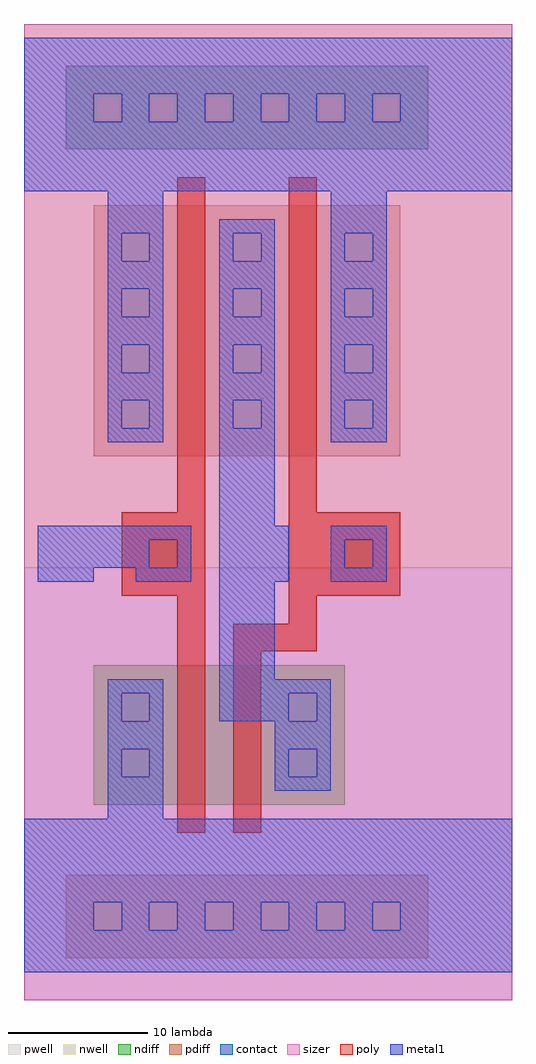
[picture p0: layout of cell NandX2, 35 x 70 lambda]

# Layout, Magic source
magic
tech LibreSilicon-test000-concept-mg-70-7
<< sizer >>
rect 0 0 35 70
<< metal1 >>
rect 0 65 35 69
rect 0 63 5 65
rect 7 63 9 65
rect 11 63 13 65
rect 15 63 17 65
rect 19 63 21 65
rect 23 63 25 65
rect 27 63 35 65
rect 0 58 35 63
rect 6 55 10 58
rect 22 55 26 58
rect 14 55 18 56
rect 6 53 7 55
rect 9 53 10 55
rect 14 53 15 55
rect 17 53 18 55
rect 22 53 23 55
rect 25 53 26 55
rect 6 51 10 53
rect 14 51 18 53
rect 22 51 26 53
rect 6 49 7 51
rect 9 49 10 51
rect 14 49 15 51
rect 17 49 18 51
rect 22 49 23 51
rect 25 49 26 51
rect 6 47 10 49
rect 14 47 18 49
rect 22 47 26 49
rect 6 45 7 47
rect 9 45 10 47
rect 14 45 15 47
rect 17 45 18 47
rect 22 45 23 47
rect 25 45 26 47
rect 6 43 10 45
rect 14 43 18 45
rect 22 43 26 45
rect 6 41 7 43
rect 9 41 10 43
rect 14 41 15 43
rect 17 41 18 43
rect 22 41 23 43
rect 25 41 26 43
rect 6 40 10 41
rect 14 34 18 41
rect 22 40 26 41
rect 1 33 12 34
rect 14 30 19 34
rect 22 33 26 34
rect 1 31 9 33
rect 11 31 12 33
rect 22 31 23 33
rect 25 31 26 33
rect 1 30 5 31
rect 8 30 12 31
rect 22 30 26 31
rect 14 23 18 30
rect 6 22 10 23
rect 14 22 22 23
rect 6 20 7 22
rect 9 20 10 22
rect 14 20 19 22
rect 21 20 22 22
rect 6 18 10 20
rect 18 18 22 20
rect 6 16 7 18
rect 9 16 10 18
rect 18 16 19 18
rect 21 16 22 18
rect 6 13 10 16
rect 18 15 22 16
rect 0 7 35 13
rect 0 5 5 7
rect 7 5 9 7
rect 11 5 13 7
rect 15 5 17 7
rect 19 5 21 7
rect 23 5 25 7
rect 27 5 35 7
rect 0 2 35 5
<< contact >>
rect 5 63 7 65
rect 9 63 11 65
rect 13 63 15 65
rect 17 63 19 65
rect 21 63 23 65
rect 25 63 27 65
rect 7 53 9 55
rect 15 53 17 55
rect 23 53 25 55
rect 7 49 9 51
rect 15 49 17 51
rect 23 49 25 51
rect 7 45 9 47
rect 15 45 17 47
rect 23 45 25 47
rect 7 41 9 43
rect 15 41 17 43
rect 23 41 25 43
rect 9 31 11 33
rect 23 31 25 33
rect 7 20 9 22
rect 19 20 21 22
rect 7 16 9 18
rect 19 16 21 18
rect 5 5 7 7
rect 9 5 11 7
rect 13 5 15 7
rect 17 5 19 7
rect 21 5 23 7
rect 25 5 27 7
<< poly >>
rect 11 35 13 59
rect 19 35 21 59
rect 7 29 13 35
rect 19 29 27 35
rect 11 12 13 29
rect 19 27 21 29
rect 15 25 21 27
rect 15 12 17 25
<< ndiff >>
rect 3 61 29 67
rect 5 14 23 24
<< pdiff >>
rect 5 39 27 57
rect 3 3 29 9
<< nwell >>
rect 0 31 35 70
<< pwell >>
rect 0 0 35 31
<< end >>
